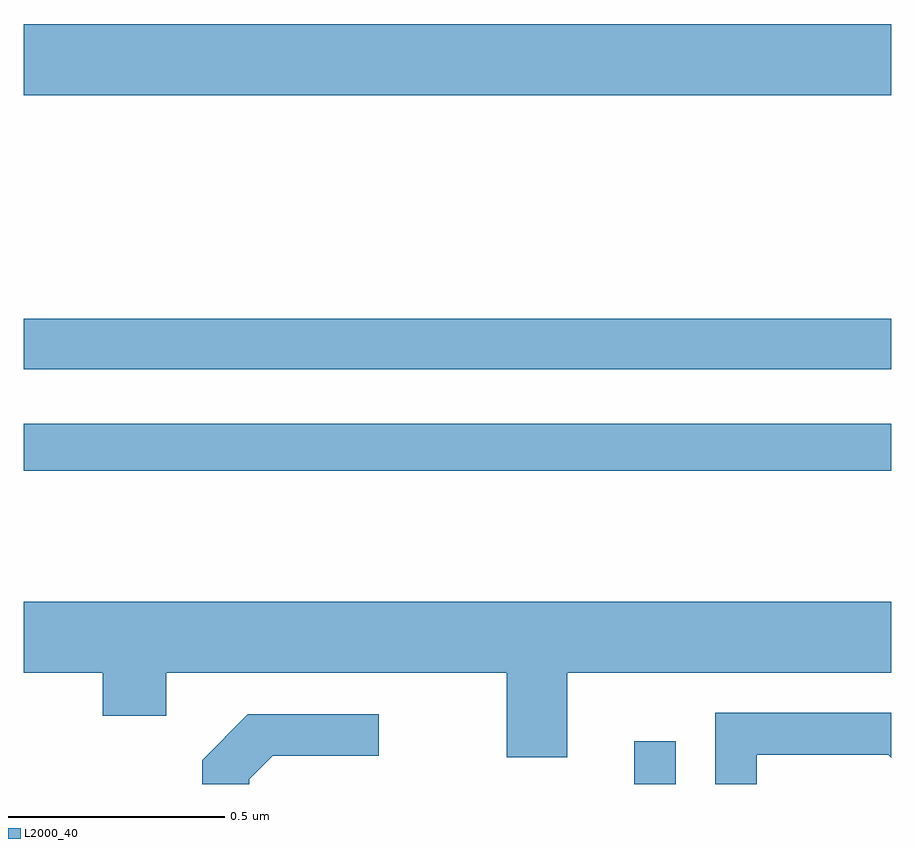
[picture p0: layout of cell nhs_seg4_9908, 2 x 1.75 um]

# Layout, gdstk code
import gdstk
lib = gdstk.Library(unit=1e-6, precision=1e-09)
def R(c, l, rs):  # rectangles x0, y0, x1, y1
    for r in rs: c.add(gdstk.rectangle(r[:2], r[2:], *l))
def P(c, l, *ps):  # polygons
    for p in ps: c.add(gdstk.Polygon(p, *l))
L2000_40 = (2000, 40)

nhs_seg4_9908 = lib.new_cell('nhs_seg4_9908')
R(nhs_seg4_9908, L2000_40, [(234.407,793.9,234.503,793.999), (233,794.622,235,794.73), (233,794.856,235,794.972), (233,795.488,235,795.652)])
P(nhs_seg4_9908, L2000_40, [(234.253,794.156),(235,794.156),(235,794.32),(233,794.32),(233,794.156),(233.182,794.156),(233.182,794.057),(233.329,794.057),(233.329,794.156),(234.113,794.156),(234.113,793.962),(234.253,793.962)],
  [(234.69,793.968),(234.993,793.968),(235,793.961),(235,794.064),(234.594,794.064),(234.594,793.9),(234.69,793.9)],
  [(233.52,793.911),(233.574,793.965),(233.818,793.965),(233.818,794.061),(233.517,794.061),(233.412,793.955),(233.412,793.9),(233.52,793.9)])

lib.write_gds('nhs_seg4_9908.gds')
